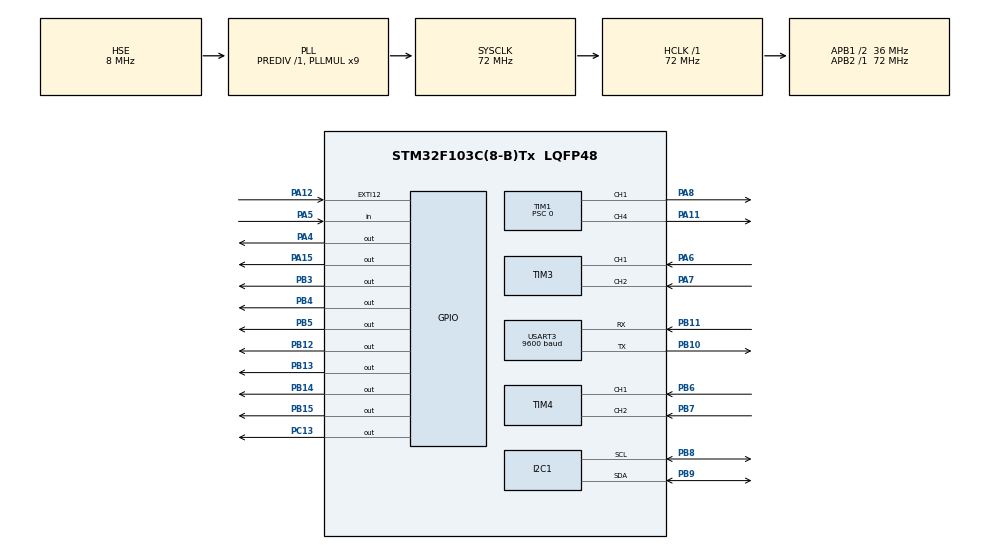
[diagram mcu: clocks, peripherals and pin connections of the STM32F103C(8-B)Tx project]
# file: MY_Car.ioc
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I2C1.I2C_Mode=I2C_Fast
Mcu.Family=STM32F1
Mcu.Name=STM32F103C(8-B)Tx
Mcu.Package=LQFP48
NVIC.EXTI15_10_IRQn=true\:1\:0\:true\:false\:true\:true\:true\:true
NVIC.PriorityGroup=NVIC_PRIORITYGROUP_2
NVIC.TIM4_IRQn=true\:1\:1\:true\:false\:true\:true\:true\:true
NVIC.USART3_IRQn=true\:1\:1\:true\:false\:true\:true\:true\:true
PA11.GPIO_Speed=GPIO_SPEED_FREQ_HIGH
PA11.Signal=S_TIM1_CH4
PA12.GPIO_ModeDefaultEXTI=GPIO_MODE_IT_FALLING
PA12.Signal=GPXTI12
PA13.Mode=Serial_Wire
PA13.Signal=SYS_JTMS-SWDIO
PA14.Mode=Serial_Wire
PA14.Signal=SYS_JTCK-SWCLK
PA15.GPIO_Speed=GPIO_SPEED_FREQ_HIGH
PA15.Signal=GPIO_Output
PA4.PinState=GPIO_PIN_SET
PA4.Signal=GPIO_Output
PA5.GPIO_PuPd=GPIO_PULLUP
PA5.Signal=GPIO_Input
PA6.GPIO_PuPd=GPIO_PULLUP
PA6.Signal=S_TIM3_CH1
PA7.GPIO_PuPd=GPIO_PULLUP
PA7.Signal=S_TIM3_CH2
PA8.GPIO_Speed=GPIO_SPEED_FREQ_HIGH
PA8.Signal=S_TIM1_CH1
PB10.Mode=Asynchronous
PB10.Signal=USART3_TX
PB11.Mode=Asynchronous
PB11.Signal=USART3_RX
PB12.PinState=GPIO_PIN_RESET
PB12.Signal=GPIO_Output
PB13.PinState=GPIO_PIN_RESET
PB13.Signal=GPIO_Output
PB14.PinState=GPIO_PIN_RESET
PB14.Signal=GPIO_Output
PB15.PinState=GPIO_PIN_RESET
PB15.Signal=GPIO_Output
PB3.GPIO_ModeDefaultOutputPP=GPIO_MODE_OUTPUT_PP
PB3.GPIO_PuPd=GPIO_NOPULL
PB3.GPIO_Speed=GPIO_SPEED_FREQ_HIGH
PB3.PinState=GPIO_PIN_SET
PB3.Signal=GPIO_Output
PB4.PinState=GPIO_PIN_SET
PB4.Signal=GPIO_Output
PB5.PinState=GPIO_PIN_SET
PB5.Signal=GPIO_Output
PB6.GPIO_PuPd=GPIO_PULLUP
PB6.Signal=S_TIM4_CH1
PB7.GPIO_PuPd=GPIO_PULLUP
PB7.Signal=S_TIM4_CH2
PB8.Mode=I2C
PB8.Signal=I2C1_SCL
PB9.Mode=I2C
PB9.Signal=I2C1_SDA
PC13-TAMPER-RTC.Signal=GPIO_Output
PD0-OSC_IN.Mode=HSE-External-Oscillator
PD0-OSC_IN.Signal=RCC_OSC_IN
PD1-OSC_OUT.Mode=HSE-External-Oscillator
PD1-OSC_OUT.Signal=RCC_OSC_OUT
ProjectManager.HeapSize=0x200
ProjectManager.StackSize=0x400
ProjectManager.TargetToolchain=MDK-ARM V5.32
RCC.ADCPresc=RCC_ADCPCLK2_DIV6
RCC.AHBFreq_Value=72000000
RCC.APB1CLKDivider=RCC_HCLK_DIV2
RCC.APB1Freq_Value=36000000
RCC.APB1TimFreq_Value=72000000
RCC.APB2Freq_Value=72000000
RCC.APB2TimFreq_Value=72000000
RCC.HCLKFreq_Value=72000000
RCC.PLLMUL=RCC_PLL_MUL9
RCC.PLLSourceVirtual=RCC_PLLSOURCE_HSE
RCC.SYSCLKFreq_VALUE=72000000
RCC.SYSCLKSource=RCC_SYSCLKSOURCE_PLLCLK
RCC.USBFreq_Value=72000000
SH.S_TIM1_CH1.0=TIM1_CH1,PWM Generation1 CH1
SH.S_TIM1_CH4.0=TIM1_CH4,PWM Generation4 CH4
SH.S_TIM3_CH1.0=TIM3_CH1,Encoder_Interface
SH.S_TIM3_CH2.0=TIM3_CH2,Encoder_Interface
SH.S_TIM4_CH1.0=TIM4_CH1,Encoder_Interface
SH.S_TIM4_CH2.0=TIM4_CH2,Encoder_Interface
TIM1.AutoReloadPreload=TIM_AUTORELOAD_PRELOAD_ENABLE
TIM1.Channel-PWM\ Generation1\ CH1=TIM_CHANNEL_1
TIM1.Channel-PWM\ Generation4\ CH4=TIM_CHANNEL_4
TIM1.Period=7199
TIM1.Prescaler=0
TIM3.EncoderMode=TIM_ENCODERMODE_TI12
TIM4.EncoderMode=TIM_ENCODERMODE_TI12
USART3.BaudRate=9600
USART3.VirtualMode=VM_ASYNC
board=custom

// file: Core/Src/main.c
/* USER CODE BEGIN Header */
/**
  ******************************************************************************
  * @file           : main.c
  * @brief          : Main program body
  ******************************************************************************
  * @attention
  *
  * Copyright (c) 2026 STMicroelectronics.
  * All rights reserved.
  *
  * This software is licensed under terms that can be found in the LICENSE file
  * in the root directory of this software component.
  * If no LICENSE file comes with this software, it is provided AS-IS.
  *
  ******************************************************************************
  */
/* USER CODE END Header */
#include "main.h"
#include "i2c.h"
#include "tim.h"
#include "usart.h"
#include "gpio.h"

/* USER CODE BEGIN Includes */
#include "encode.h"
#include "oled.h"
#include "serial.h"
#include "pid.h"
#include "Delay.h"
#include "Motor.h"
#include "sys.h"
#include "kalman_filter.h"
#include "app_config.h"
#include "app_sensor.h"
#include "mpu6050.h"
#include "hmc5883l.h"
#include <math.h>
#include <stdio.h>
#include <string.h>
/* USER CODE END Includes */

/* USER CODE BEGIN PD */

/* 速度环停车死区 (cm/s): |目标速度| 小于它即锁轮制动并清 PID */
#define SPEED_STOP_EPS   0.5f

/* USER CODE END PD */

/* USER CODE BEGIN PV */
static float lv_target = 0.0f;    /* 左轮目标速度 (cm/s), 当前无蓝牙命令设定, 恒为 0 */
static float rv_target = 0.0f;    /* 右轮目标速度 (cm/s), 蓝牙 "SV:xx.xx##" 设定 */

/* USER CODE END PV */

void SystemClock_Config(void);

/* USER CODE BEGIN 0 */

/* 行4(y=48) 显示速度环 Kp/Ki/Kd
 * 数据源必须是 pid_speed_L: 蓝牙 KPA/KIA/KDA 只写 pid_speed_L,
 * 显示与命令写入必须是同一实例, 否则行4 恒为开机初值不更新 */
static void OLED_ShowPidRow(void)
{
    OLED_ClearArea(0, 48, 128, 12);
    OLED_ShowFloatNum(0,  48, pid_speed_L.Kp, 3, 2, OLED_6X8);
    OLED_ShowFloatNum(44, 48, pid_speed_L.Ki, 3, 2, OLED_6X8);
    OLED_ShowFloatNum(88, 48, pid_speed_L.Kd, 3, 2, OLED_6X8);
}

/* 将带符号 PID 输出转换为电机方向 + 限幅后的 PWM */
static void Motor_DriveSpeed(char wheel, float out)
{
    int8_t dir;
    float  mag;

    if (out > 0.0f) {
        dir = DIR_FWD;
        mag = out;
    } else if (out < 0.0f) {
        dir = DIR_BWD;
        mag = -out;
    } else {
        dir = DIR_STOP;
        mag = 0.0f;
    }

    if (mag > (float)PWM_MAX) mag = (float)PWM_MAX;
    Motor_Direction(wheel, dir);
    Motor_PWM(wheel, (int16_t)mag);
}
/* USER CODE END 0 */

int main(void)
{

  /* MCU Configuration--------------------------------------------------------*/

  /* Reset of all peripherals, Initializes the Flash interface and the Systick. */
  HAL_Init();

  /* Configure the system clock */
  SystemClock_Config();

  /* Initialize all configured peripherals */
  MX_GPIO_Init();
  MX_TIM1_Init();
  MX_TIM3_Init();
  MX_TIM4_Init();
  MX_I2C1_Init();
  MX_USART3_UART_Init();
  /* USER CODE BEGIN 2 */

  /* 禁用 JTAG(保留SWD), 释放 PB3/PA15/PB4 给 OLED 软件SPI */
  __HAL_RCC_AFIO_CLK_ENABLE();
  __HAL_AFIO_REMAP_SWJ_NOJTAG();

  Delay_Init();
  OLED_Init();

  /* 开机显示 wait... 直到初始化完成 */
  OLED_Clear();
  OLED_ShowString(46, 28, "wait...", OLED_6X8);
  OLED_Update();

  Encoder_Init();    /* 启动 TIM3/TIM4 编码器接口 */

  /* MPU6050 初始化(含 I2C/唤醒/配置/ID 检测) */
  if (MPU_Init() != 0)
  {
    OLED_Clear();
    OLED_ShowString(0, 0, "MPU6050 Error", OLED_6X8);
    OLED_Update();
    while (1);
  }

  /* 卡尔曼滤波器(含 DWT 周期计数器使能) */
  Kalman_Filter_GlobalInit();
  Kalman_Filter_GlobalSetParams(Q_ANGLE, Q_GYRO, R_ANGLE);

  /* HMC5883L 磁力计(共用 PB8/PB9 I2C) */
  HMC5883L_Init();

  /* 上电校准: 采集陀螺零偏, 记录当前姿态为直立目标 */
  Sensor_Calibrate();

  /* 主界面: 行0 蓝牙设定速度 / 行1 R / 行2 VL / 行3 VR / 行4 KpKiKd */
  OLED_Clear();
  OLED_ShowString(0, 12, "R:",  OLED_6X8);
  OLED_ShowString(0, 24, "VL:", OLED_6X8);
  OLED_ShowString(0, 36, "VR:", OLED_6X8);
  OLED_ShowString(90, 24, "cm/s", OLED_6X8);
  OLED_ShowString(90, 36, "cm/s", OLED_6X8);
  OLED_ShowFloatNum(0, 0, lv_target, 3, 2, OLED_6X8);
  OLED_Update();
  Serial_Init();   /* USART3 蓝牙: 中断接收 + printf 重定向 */
	Motor_Init();
	/* 左右轮速度环 PID: 当前先使用同一组参数
	 * 蓝牙 KPA/KIA/KDA/SV 只在线修改左轮 pid_speed_L, 行4 显示的也是该实例 */
	PID_Init(&pid_speed_L, 125, 215, 0.2);
	PID_Init(&pid_speed_R, 125, 200, 0.28);
	OLED_ShowPidRow();   /* 开机画出 行4 Kp/Ki/Kd */
	OLED_Update();

  /* USER CODE END 2 */

  /* Infinite loop */
  /* USER CODE BEGIN WHILE */
  while (1)
  {
    static uint32_t report_tick = 0;
    static uint32_t pid_tick = 0;

    /* ---- 左右轮速度环 PI: 5ms 一拍，反馈低通/抗饱和由 PID_ComputeInc 完成 ---- */
    {
        uint32_t now = HAL_GetTick();

        if (now - pid_tick >= 5U) {
            float v_l, v_r, out_l, out_r, dt_ms;

            dt_ms = (float)(now - pid_tick);
            pid_tick = now;

            /* 同一时刻各读一次编码器，左右轮 PID 使用同一控制周期 */
            v_l = Encoder_GetSpeedL();
            v_r = Encoder_GetSpeedR();

            PID_SetSetpoint(&pid_speed_L, lv_target);
            PID_SetSetpoint(&pid_speed_R, rv_target);

            if (lv_target > -SPEED_STOP_EPS && lv_target < SPEED_STOP_EPS) {
                PID_Reset(&pid_speed_L);
                Motor_Direction('L', DIR_STOP);
                Motor_PWM('L', 0);
            } else {
                out_l = PID_ComputeInc(&pid_speed_L, v_l, (float)PWM_MAX, dt_ms);
                Motor_DriveSpeed('L', out_l);
            }

            if (rv_target > -SPEED_STOP_EPS && rv_target < SPEED_STOP_EPS) {
                PID_Reset(&pid_speed_R);
                Motor_Direction('R', DIR_STOP);
                Motor_PWM('R', 0);
            } else {
                out_r = PID_ComputeInc(&pid_speed_R, v_r, (float)PWM_MAX, dt_ms);
                Motor_DriveSpeed('R', out_r);
            }
        }
    }

    /* ---- 蓝牙命令处理 ---- */
    {
        float kp, ki, kd, sv;

        /* "KPA:xx##" -> 左轮 Kp */
        if (KPA_Get(&kp)) {
            PID_SetTunings(&pid_speed_L, kp, pid_speed_L.Ki, pid_speed_L.Kd);
            OLED_ShowPidRow();
            OLED_Update();
        }

        /* "KIA:xx##" -> 左轮 Ki */
        if (KIA_Get(&ki)) {
            PID_SetTunings(&pid_speed_L, pid_speed_L.Kp, ki, pid_speed_L.Kd);
            OLED_ShowPidRow();
            OLED_Update();
        }

        /* "KDA:xx##" -> 左轮 Kd */
        if (KDA_Get(&kd)) {
            PID_SetTunings(&pid_speed_L, pid_speed_L.Kp, pid_speed_L.Ki, kd);
            OLED_ShowPidRow();
            OLED_Update();
        }

        /* "SV:xx.xx##" -> 左轮目标速度(cm/s), 下一控制拍生效 */
        if (SV_Get(&sv)) {
            lv_target = sv;
            OLED_ClearArea(0, 0, 128, 12);
            OLED_ShowFloatNum(0, 0, lv_target, 3, 2, OLED_6X8);
            OLED_Update();
        }

    }

    /* ---- 每 100ms: 蓝牙遥测上报 + OLED 速度刷新 ---- */
    if (HAL_GetTick() - report_tick >= 100) {
        float v_l, v_r;
        report_tick = HAL_GetTick();
        v_l = Encoder_GetSpeedL();
        v_r = Encoder_GetSpeedR();

        /* 遥测格式 "Y,R,VL,VR" (各1位小数) */
        {
            char tel[48];
            snprintf(tel, sizeof(tel), "%.1f,%.1f,%.1f,%.1f\r\n",
                     yaw, roll, v_l, v_r);
            USART_SendString(tel);
        }

        /* 刷新 VL(行2) / VR(行3) */
        OLED_ClearArea(24, 24, 60, 12);
        OLED_ClearArea(24, 36, 60, 12);
        OLED_ShowFloatNum(24, 24, v_l, 3, 1, OLED_6X8);
        OLED_ShowFloatNum(24, 36, v_r, 3, 1, OLED_6X8);

        OLED_Update();
    }

    /* ---- 姿态显示: pitch/roll/yaw 由 PA12 中断更新, 此处只画 R 横滚角 ---- */
    if (Display_NeedUpdate(pitch, roll, yaw))
    {
      OLED_ClearArea(24, 12, 104, 12);
      OLED_ShowFloatNum(24, 12, Display_GetR(), 3, 1, OLED_6X8);
      OLED_Update();
    }

    Delay_ms(5);   /* 主循环节流 */
    /* USER CODE END WHILE */

  }
}

void SystemClock_Config(void)
{
  RCC_OscInitTypeDef RCC_OscInitStruct = {0};
  RCC_ClkInitTypeDef RCC_ClkInitStruct = {0};

  /** Initializes the RCC Oscillators according to the specified parameters
  * in the RCC_OscInitTypeDef structure.
  */
  RCC_OscInitStruct.OscillatorType = RCC_OSCILLATORTYPE_HSE;
  RCC_OscInitStruct.HSEState = RCC_HSE_ON;
  RCC_OscInitStruct.HSEPredivValue = RCC_HSE_PREDIV_DIV1;
  RCC_OscInitStruct.HSIState = RCC_HSI_ON;
  RCC_OscInitStruct.PLL.PLLState = RCC_PLL_ON;
  RCC_OscInitStruct.PLL.PLLSource = RCC_PLLSOURCE_HSE;
  RCC_OscInitStruct.PLL.PLLMUL = RCC_PLL_MUL9;
  if (HAL_RCC_OscConfig(&RCC_OscInitStruct) != HAL_OK)
  {
    Error_Handler();
  }

  /** Initializes the CPU, AHB and APB buses clocks
  */
  RCC_ClkInitStruct.ClockType = RCC_CLOCKTYPE_HCLK|RCC_CLOCKTYPE_SYSCLK
                              |RCC_CLOCKTYPE_PCLK1|RCC_CLOCKTYPE_PCLK2;
  RCC_ClkInitStruct.SYSCLKSource = RCC_SYSCLKSOURCE_PLLCLK;
  RCC_ClkInitStruct.AHBCLKDivider = RCC_SYSCLK_DIV1;
  RCC_ClkInitStruct.APB1CLKDivider = RCC_HCLK_DIV2;
  RCC_ClkInitStruct.APB2CLKDivider = RCC_HCLK_DIV1;

  if (HAL_RCC_ClockConfig(&RCC_ClkInitStruct, FLASH_LATENCY_2) != HAL_OK)
  {
    Error_Handler();
  }
}

/* USER CODE BEGIN 4 */
/* 外部中断回调已移至 Hardware/Src/Interrupt.c (PA12 -> Sensor_Angle_Update) */

/* USER CODE END 4 */

void Error_Handler(void)
{
  __disable_irq();
  while (1)
  {
  }
}
